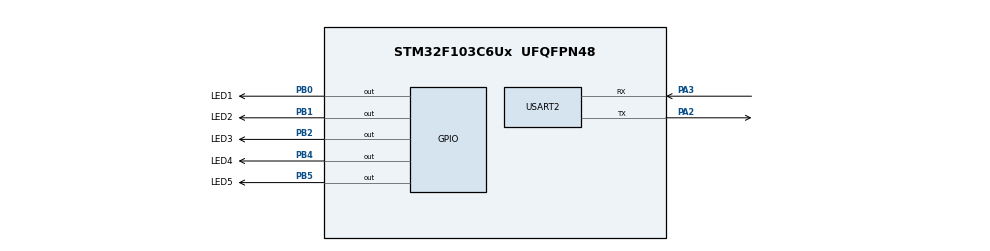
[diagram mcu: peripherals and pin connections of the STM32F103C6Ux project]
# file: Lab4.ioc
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Mcu.Family=STM32F1
Mcu.Name=STM32F103C6Ux
Mcu.Package=UFQFPN48
NVIC.PriorityGroup=NVIC_PRIORITYGROUP_4
NVIC.TIM2_IRQn=true\:0\:0\:false\:false\:true\:true\:true
PA2.Mode=Asynchronous
PA2.Signal=USART2_TX
PA3.Mode=Asynchronous
PA3.Signal=USART2_RX
PB0.GPIO_Label=LED1
PB0.Signal=GPIO_Output
PB1.GPIO_Label=LED2
PB1.Signal=GPIO_Output
PB2.GPIO_Label=LED3
PB2.Signal=GPIO_Output
PB4.GPIO_Label=LED4
PB4.Signal=GPIO_Output
PB5.GPIO_Label=LED5
PB5.Signal=GPIO_Output
ProjectManager.HeapSize=0x200
ProjectManager.StackSize=0x400
ProjectManager.TargetToolchain=STM32CubeIDE
RCC.APB1Freq_Value=8000000
RCC.APB2Freq_Value=8000000
TIM2.Period=9
TIM2.Prescaler=7999
USART2.VirtualMode=VM_ASYNC
VP_SYS_VS_ND.Mode=No_Debug
VP_TIM2_VS_ClockSourceINT.Mode=Internal
board=custom

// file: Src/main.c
/* USER CODE BEGIN Header */
/**
  ******************************************************************************
  * @file           : main.c
  * @brief          : Main program body
  ******************************************************************************
  * @attention
  *
  * <h2><center>&copy; Copyright (c) 2026 STMicroelectronics.
  * All rights reserved.</center></h2>
  *
  * This software component is licensed by ST under BSD 3-Clause license,
  * the "License"; You may not use this file except in compliance with the
  * License. You may obtain a copy of the License at:
  *                        opensource.org/licenses/BSD-3-Clause
  *
  ******************************************************************************
  */
/* USER CODE END Header */
#include "main.h"

/* USER CODE BEGIN Includes */
#include <stdio.h>
#include "scheduler.h"
#include "tasks.h"
/* USER CODE END Includes */

TIM_HandleTypeDef htim2;

UART_HandleTypeDef huart2;

void SystemClock_Config(void);
static void MX_GPIO_Init(void);
static void MX_TIM2_Init(void);
static void MX_USART2_UART_Init(void);

/* USER CODE BEGIN 0 */
#define TXBUF_SIZE 1024
static uint8_t  txbuf[TXBUF_SIZE];
static uint16_t tx_head = 0, tx_tail = 0;   /* write index, read index */

static void UART_Tx_Poll(void)
{
    while (tx_tail != tx_head && __HAL_UART_GET_FLAG(&huart2, UART_FLAG_TXE)) {
        huart2.Instance->DR = txbuf[tx_tail];
        tx_tail = (tx_tail + 1) % TXBUF_SIZE;
    }
}

int __io_putchar(int ch)
{
    uint16_t next = (tx_head + 1) % TXBUF_SIZE;
    while (next == tx_tail) UART_Tx_Poll();  /* buffer full (rare): wait */
    txbuf[tx_head] = (uint8_t)ch;
    tx_head = next;
    return ch;
}
/* USER CODE END 0 */

int main(void)
{

  /* MCU Configuration--------------------------------------------------------*/

  /* Reset of all peripherals, Initializes the Flash interface and the Systick. */
  HAL_Init();

  /* Configure the system clock */
  SystemClock_Config();

  /* Initialize all configured peripherals */
  MX_GPIO_Init();
  MX_TIM2_Init();
  MX_USART2_UART_Init();
  /* USER CODE BEGIN 2 */
  setvbuf(stdout, NULL, _IONBF, 0);       /* print each character at once */
    printf("\r\nLab 4 - cooperative scheduler\r\n");
    SCH_Init();
    Tasks_Setup();                          /* add all tasks BEFORE the loop */
    HAL_TIM_Base_Start_IT(&htim2);          /* start the 10 ms tick last     */

  /* USER CODE END 2 */

  /* Infinite loop */
  while (1)
  {

    /* USER CODE BEGIN 3 */
	  SCH_Dispatch_Tasks();
	      UART_Tx_Poll();
  }
  /* USER CODE END 3 */
}

void SystemClock_Config(void)
{
  RCC_OscInitTypeDef RCC_OscInitStruct = {0};
  RCC_ClkInitTypeDef RCC_ClkInitStruct = {0};

  /** Initializes the RCC Oscillators according to the specified parameters
  * in the RCC_OscInitTypeDef structure.
  */
  RCC_OscInitStruct.OscillatorType = RCC_OSCILLATORTYPE_HSI;
  RCC_OscInitStruct.HSIState = RCC_HSI_ON;
  RCC_OscInitStruct.HSICalibrationValue = RCC_HSICALIBRATION_DEFAULT;
  RCC_OscInitStruct.PLL.PLLState = RCC_PLL_NONE;
  if (HAL_RCC_OscConfig(&RCC_OscInitStruct) != HAL_OK)
  {
    Error_Handler();
  }
  /** Initializes the CPU, AHB and APB buses clocks
  */
  RCC_ClkInitStruct.ClockType = RCC_CLOCKTYPE_HCLK|RCC_CLOCKTYPE_SYSCLK
                              |RCC_CLOCKTYPE_PCLK1|RCC_CLOCKTYPE_PCLK2;
  RCC_ClkInitStruct.SYSCLKSource = RCC_SYSCLKSOURCE_HSI;
  RCC_ClkInitStruct.AHBCLKDivider = RCC_SYSCLK_DIV1;
  RCC_ClkInitStruct.APB1CLKDivider = RCC_HCLK_DIV1;
  RCC_ClkInitStruct.APB2CLKDivider = RCC_HCLK_DIV1;

  if (HAL_RCC_ClockConfig(&RCC_ClkInitStruct, FLASH_LATENCY_0) != HAL_OK)
  {
    Error_Handler();
  }
}

static void MX_TIM2_Init(void)
{

  TIM_ClockConfigTypeDef sClockSourceConfig = {0};
  TIM_MasterConfigTypeDef sMasterConfig = {0};

  htim2.Instance = TIM2;
  htim2.Init.Prescaler = 7999;
  htim2.Init.CounterMode = TIM_COUNTERMODE_UP;
  htim2.Init.Period = 9;
  htim2.Init.ClockDivision = TIM_CLOCKDIVISION_DIV1;
  htim2.Init.AutoReloadPreload = TIM_AUTORELOAD_PRELOAD_DISABLE;
  if (HAL_TIM_Base_Init(&htim2) != HAL_OK)
  {
    Error_Handler();
  }
  sClockSourceConfig.ClockSource = TIM_CLOCKSOURCE_INTERNAL;
  if (HAL_TIM_ConfigClockSource(&htim2, &sClockSourceConfig) != HAL_OK)
  {
    Error_Handler();
  }
  sMasterConfig.MasterOutputTrigger = TIM_TRGO_RESET;
  sMasterConfig.MasterSlaveMode = TIM_MASTERSLAVEMODE_DISABLE;
  if (HAL_TIMEx_MasterConfigSynchronization(&htim2, &sMasterConfig) != HAL_OK)
  {
    Error_Handler();
  }

}

static void MX_USART2_UART_Init(void)
{

  huart2.Instance = USART2;
  huart2.Init.BaudRate = 115200;
  huart2.Init.WordLength = UART_WORDLENGTH_8B;
  huart2.Init.StopBits = UART_STOPBITS_1;
  huart2.Init.Parity = UART_PARITY_NONE;
  huart2.Init.Mode = UART_MODE_TX_RX;
  huart2.Init.HwFlowCtl = UART_HWCONTROL_NONE;
  huart2.Init.OverSampling = UART_OVERSAMPLING_16;
  if (HAL_UART_Init(&huart2) != HAL_OK)
  {
    Error_Handler();
  }

}

static void MX_GPIO_Init(void)
{
  GPIO_InitTypeDef GPIO_InitStruct = {0};

  /* GPIO Ports Clock Enable */
  __HAL_RCC_GPIOA_CLK_ENABLE();
  __HAL_RCC_GPIOB_CLK_ENABLE();

  /*Configure GPIO pin Output Level */
  HAL_GPIO_WritePin(GPIOB, LED1_Pin|LED2_Pin|LED3_Pin|LED4_Pin
                          |LED5_Pin, GPIO_PIN_RESET);

  /*Configure GPIO pins : LED1_Pin LED2_Pin LED3_Pin LED4_Pin
                           LED5_Pin */
  GPIO_InitStruct.Pin = LED1_Pin|LED2_Pin|LED3_Pin|LED4_Pin
                          |LED5_Pin;
  GPIO_InitStruct.Mode = GPIO_MODE_OUTPUT_PP;
  GPIO_InitStruct.Pull = GPIO_NOPULL;
  GPIO_InitStruct.Speed = GPIO_SPEED_FREQ_LOW;
  HAL_GPIO_Init(GPIOB, &GPIO_InitStruct);

}

/* USER CODE BEGIN 4 */
void HAL_TIM_PeriodElapsedCallback(TIM_HandleTypeDef *htim)
{
  if (htim->Instance == TIM2) {
    SCH_Update();
  }
}

/* USER CODE END 4 */

void Error_Handler(void)
{
  __disable_irq();
  while (1)
  {
  }
}

/************************ (C) COPYRIGHT STMicroelectronics *****END OF FILE****/
